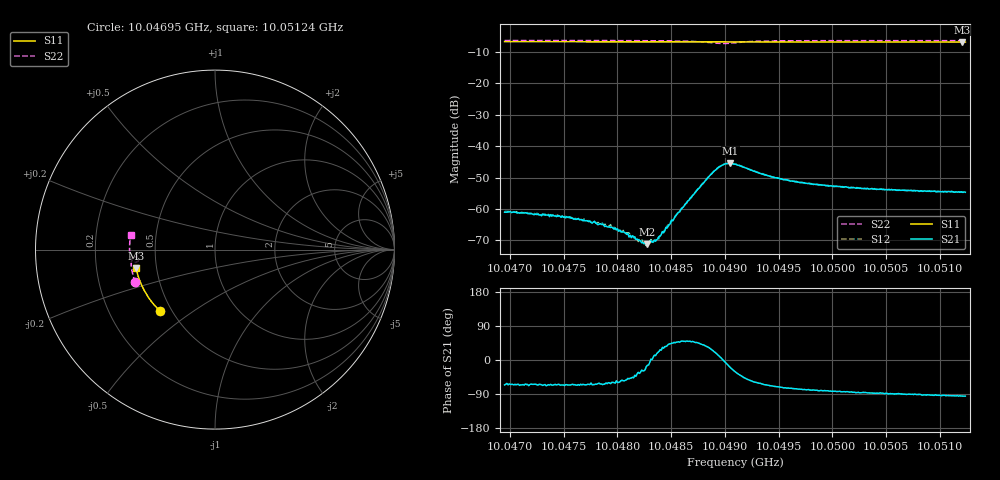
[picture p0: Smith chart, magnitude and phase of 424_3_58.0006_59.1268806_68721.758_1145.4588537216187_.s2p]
#  HZ  S  RI  R  50.00
! Rohde & Schwarz Vector Network Analyzer
! Rohde-Schwarz,ZNB20-2Port,1311601062101988,3.16
! Created: UTC 3/21/2024, 1:09:17 AM
! freq[Hz]  re:S11  im:S11  re:S21  im:S21  re:S12  im:S12  re:S22  im:S22
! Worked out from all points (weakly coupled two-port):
!   401 points, 10.04695 GHz to 10.05124 GHz, reference 50 ohm
!   highest |S21| = -45.51 dB at 10.04905 GHz (marker M1); lowest = -71.3 dB at 10.04828 GHz (marker M2)
!   lowest |S11| = -6.9 dB at 10.0512 GHz (marker M3), VSWR 2.65, Z = 19.1 - j5.05 ohm
!   |S11| at or under -10 dB: nowhere
!   |S22| runs from -7.3 to -6.4 dB; largest |S21 - S12| = 0.00037
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1.0046951e10  -0.3041 -0.3446  0.000365 -0.000809  0.000464 -0.000791  -0.4437 -0.1828
1.0047465e10  -0.328 -0.3204  0.00031 -0.000702  0.00038 -0.000697  -0.4549 -0.1497
1.0047669e10  -0.337 -0.3105  0.000278 -0.000615  0.000326 -0.000593  -0.4587 -0.1361
1.004784e10  -0.3443 -0.3017  0.000262 -0.000521  0.000298 -0.000527  -0.4614 -0.1243
1.0047915e10  -0.3474 -0.2979  0.000259 -0.000446  0.000276 -0.000465  -0.4626 -0.1189
1.0048076e10  -0.3539 -0.2895  0.000246 -0.000329  0.000266 -0.000313  -0.4645 -0.1074
1.0048172e10  -0.3577 -0.2844  0.000239 -0.000224  0.000261 -0.000211  -0.4657 -0.1001
1.0048226e10  -0.3599 -0.2816  0.000258 -0.00013  0.000298 -0.00014  -0.4661 -0.0961
1.0048237e10  -0.3602 -0.281  0.000255 -0.00014  0.000271 -0.000133  -0.4663 -0.0952
1.0048279e10  -0.362 -0.2789  0.000265 -6.62e-05  0.000286 -4.94e-05  -0.4665 -0.092
1.0048344e10  -0.3644 -0.2751  0.000311 6.99e-05  0.000303 8.13e-05  -0.4668 -0.0866
1.0048386e10  -0.366 -0.2731  0.000336 0.00014  0.000307 0.000137  -0.4668 -0.0831
1.0048654e10  -0.3759 -0.2583  0.000868 0.00101  0.000821 0.00107  -0.4629 -0.058
1.0048879e10  -0.3835 -0.2458  0.00328 0.00165  0.00321 0.00184  -0.4402 -0.0407
1.0048976e10  -0.3866 -0.2403  0.00498 0.000156  0.005 0.000494  -0.4265 -0.0512
1.0049051e10  -0.3888 -0.2363  0.00498 -0.00181  0.00511 -0.00147  -0.4295 -0.0651
1.0049094e10  -0.3903 -0.234  0.00443 -0.0026  0.00461 -0.00236  -0.4362 -0.0698
1.0049447e10  -0.4016 -0.2136  0.00115 -0.003  0.00134 -0.00295  -0.4694 -0.0458
1.0049811e10  -0.4117 -0.1918  0.000458 -0.00245  0.00059 -0.00242  -0.4754 -0.0156
1.0050529e10  -0.4282 -0.1478  4.29e-05 -0.00202  0.000136 -0.00204  -0.4751 0.036
1.0051204e10  -0.4397 -0.1052  -0.000163 -0.00185  -5.21e-05 -0.00188  -0.4693 0.0811
1.0051236e10  -0.4402 -0.1032  -0.000169 -0.00183  -7.96e-05 -0.00185  -0.4688 0.0832
